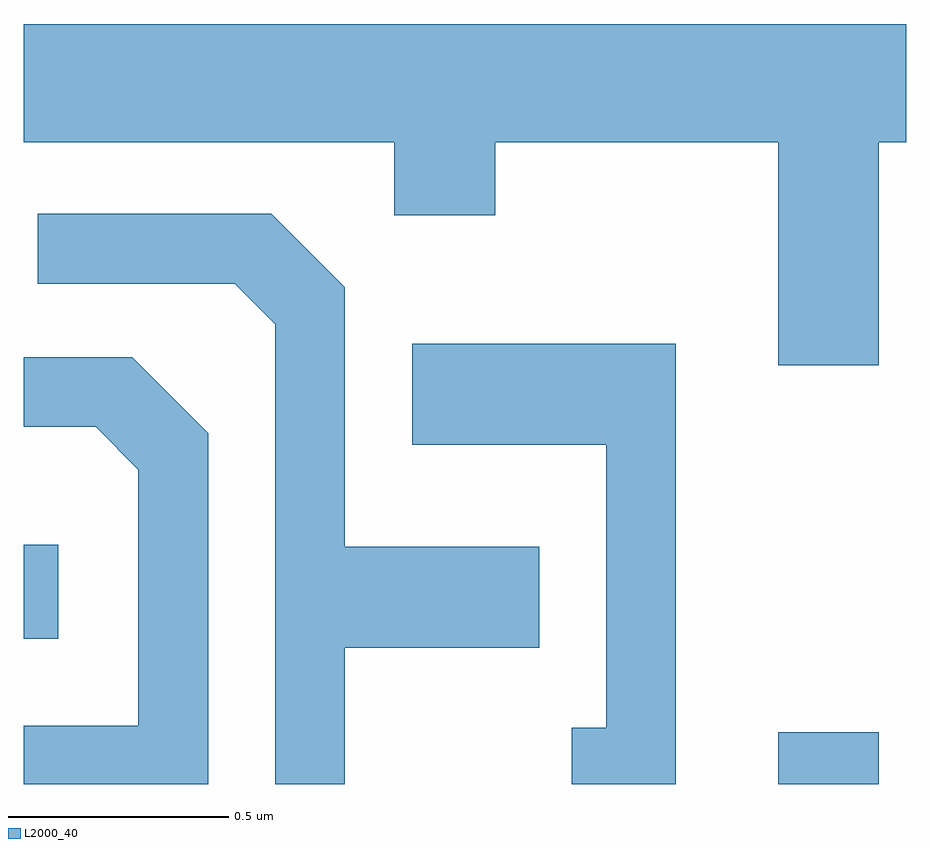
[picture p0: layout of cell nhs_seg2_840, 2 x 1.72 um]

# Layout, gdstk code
import gdstk
lib = gdstk.Library(unit=1e-6, precision=1e-09)
def R(c, l, rs):  # rectangles x0, y0, x1, y1
    for r in rs: c.add(gdstk.rectangle(r[:2], r[2:], *l))
def P(c, l, *ps):  # polygons
    for p in ps: c.add(gdstk.Polygon(p, *l))
L2000_40 = (2000, 40)

nhs_seg2_840 = lib.new_cell('nhs_seg2_840')
R(nhs_seg2_840, L2000_40, [(193.321,995.802,193.549,995.919), (191.611,996.131,191.689,996.344)])
P(nhs_seg2_840, L2000_40, [(193.549,997.256),(193.611,997.256),(193.611,997.524),(191.611,997.524),(191.611,997.256),(192.451,997.256),(192.451,997.091),(192.679,997.091),(192.679,997.256),(193.321,997.256),(193.321,996.751),(193.549,996.751)],
  [(192.339,996.111),(192.779,996.111),(192.779,996.339),(192.339,996.339),(192.339,996.927),(192.172,997.094),(191.643,997.094),(191.643,996.936),(192.089,996.936),(192.181,996.844),(192.181,995.802),(192.339,995.802)],
  [(193.089,996.799),(192.491,996.799),(192.491,996.571),(192.931,996.571),(192.931,995.929),(192.853,995.929),(192.853,995.802),(193.089,995.802)],
  [(192.029,996.597),(191.857,996.769),(191.611,996.769),(191.611,996.611),(191.774,996.611),(191.871,996.514),(191.871,995.934),(191.611,995.934),(191.611,995.802),(192.029,995.802)])

lib.write_gds('nhs_seg2_840.gds')
